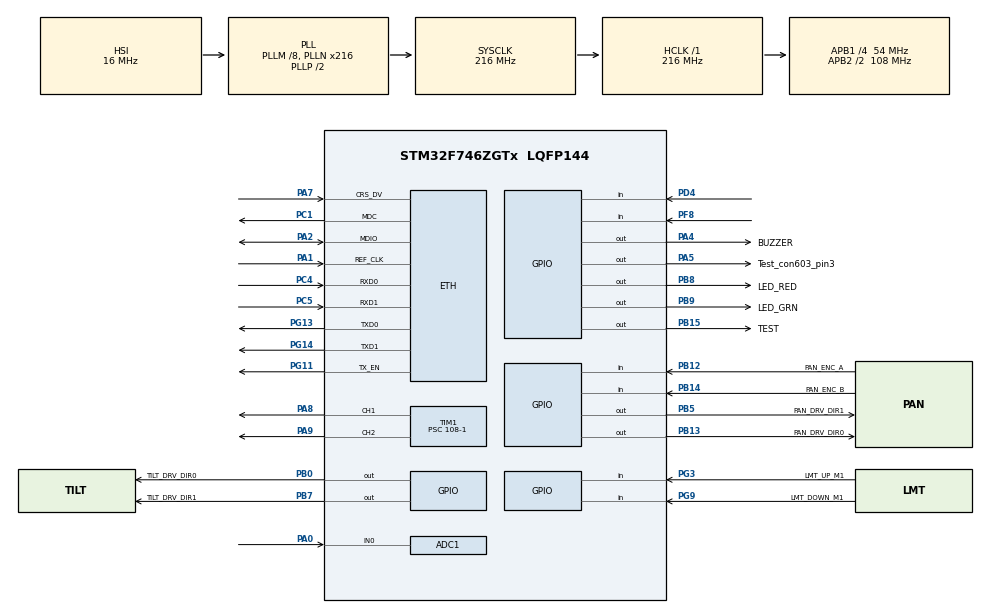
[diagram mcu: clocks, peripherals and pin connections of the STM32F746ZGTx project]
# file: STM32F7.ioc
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ADC1.Channel-0\#ChannelRegularConversion=ADC_CHANNEL_0
ADC1.ContinuousConvMode=ENABLE
ADC1.DMAContinuousRequests=ENABLE
ADC1.NbrOfConversionFlag=1
ADC1.Rank-0\#ChannelRegularConversion=1
ADC1.SamplingTime-0\#ChannelRegularConversion=ADC_SAMPLETIME_3CYCLES
ADC1.ScanConvMode=ADC_SCAN_ENABLE
ADC1.master=1
CORTEX_M7.CPU_DCache=Enabled
CORTEX_M7.CPU_ICache=Enabled
Dma.ADC1.0.Direction=DMA_PERIPH_TO_MEMORY
Dma.ADC1.0.FIFOMode=DMA_FIFOMODE_DISABLE
Dma.ADC1.0.Instance=DMA2_Stream0
Dma.ADC1.0.MemDataAlignment=DMA_MDATAALIGN_HALFWORD
Dma.ADC1.0.MemInc=DMA_MINC_ENABLE
Dma.ADC1.0.Mode=DMA_CIRCULAR
Dma.ADC1.0.PeriphDataAlignment=DMA_PDATAALIGN_HALFWORD
Dma.ADC1.0.PeriphInc=DMA_PINC_DISABLE
Dma.ADC1.0.Priority=DMA_PRIORITY_LOW
Dma.Request0=ADC1
ETH.MACAddr=00\:80\:E2\:00\:00\:00
ETH.MediaInterface=ETH_MEDIA_INTERFACE_RMII
ETH.PhyAddress=0
ETH.RxMode=ETH_RXINTERRUPT_MODE
FREERTOS.INCLUDE_uxTaskGetStackHighWaterMark=1
FREERTOS.INCLUDE_uxTaskGetStackHighWaterMark2=1
FREERTOS.INCLUDE_vTaskCleanUpResources=1
FREERTOS.INCLUDE_vTaskDelayUntil=1
FREERTOS.Tasks01=defaultTask,0,128,StartDefaultTask,Default,NULL,Dynamic,NULL,NULL
FREERTOS.configENABLE_FPU=1
FREERTOS.configTIMER_TASK_STACK_DEPTH=128
FREERTOS.configTOTAL_HEAP_SIZE=100000
FREERTOS.configUSE_TIMERS=1
LWIP.CHECKSUM_BY_HARDWARE=0
LWIP.GATEWAY_ADDRESS=192.168.000.001
LWIP.IP_ADDRESS=192.168.001.036
LWIP.LWIP_DHCP=0
LWIP.LWIP_HTTPD=0
LWIP.LWIP_SNMP=0
LWIP.LWIP_SO_RCVTIMEO=1
LWIP.LWIP_SO_SNDTIMEO=1
LWIP.LWIP_TCPIP_TIMEOUT=1
LWIP.LWIP_TCP_CLOSE_TIMEOUT_MS_DEFAULT=1000
LWIP.MEMP_NUM_TCP_SEG=32
LWIP.MEM_SIZE=1600
LWIP.NETMASK_ADDRESS=255.255.255.000
LWIP.PBUF_POOL_BUFSIZE=592
LWIP.TCP_SND_BUF=1072
LWIP.TCP_WND_UPDATE_THRESHOLD=536
LWIP.Version=v2.1.2_Cube
Mcu.Family=STM32F7
Mcu.Name=STM32F746ZGTx
Mcu.Package=LQFP144
NVIC.ADC_IRQn=true\:5\:0\:false\:false\:true\:true\:true\:true
NVIC.DMA2_Stream0_IRQn=true\:5\:0\:false\:false\:true\:true\:false\:true
NVIC.ETH_IRQn=true\:5\:0\:true\:false\:true\:false\:true\:true
NVIC.PriorityGroup=NVIC_PRIORITYGROUP_4
NVIC.TIM1_CC_IRQn=true\:5\:0\:false\:false\:true\:true\:true\:true
NVIC.TIM1_UP_TIM10_IRQn=true\:0\:0\:false\:false\:true\:false\:false\:true
NVIC.TIM3_IRQn=true\:5\:0\:false\:false\:true\:true\:true\:true
NVIC.TIM6_DAC_IRQn=true\:5\:0\:false\:false\:true\:true\:true\:true
NVIC.TIM7_IRQn=true\:5\:0\:false\:false\:true\:true\:true\:true
NVIC.TimeBase=TIM1_UP_TIM10_IRQn
NVIC.TimeBaseIP=TIM10
PA0/WKUP.Signal=ADCx_IN0
PA1.Mode=RMII
PA1.Signal=ETH_REF_CLK
PA13.Mode=Serial_Wire
PA13.Signal=SYS_JTMS-SWDIO
PA14.Mode=Serial_Wire
PA14.Signal=SYS_JTCK-SWCLK
PA2.Mode=RMII
PA2.Signal=ETH_MDIO
PA4.GPIO_Label=BUZZER
PA4.Signal=GPIO_Output
PA5.GPIO_Label=Test_con603_pin3
PA5.Signal=GPIO_Output
PA7.Mode=RMII
PA7.Signal=ETH_CRS_DV
PA8.Signal=S_TIM1_CH1
PA9.Signal=S_TIM1_CH2
PB0.GPIO_Label=TILT_DRV_DIR0
PB0.Signal=GPIO_Output
PB12.GPIO_Label=PAN_ENC_A
PB12.Signal=GPIO_Input
PB13.GPIO_Label=PAN_DRV_DIR0
PB13.Signal=GPIO_Output
PB14.GPIO_Label=PAN_ENC_B
PB14.Signal=GPIO_Input
PB15.GPIO_Label=TEST
PB15.Signal=GPIO_Output
PB5.GPIO_Label=PAN_DRV_DIR1
PB5.Signal=GPIO_Output
PB7.GPIO_Label=TILT_DRV_DIR1
PB7.Signal=GPIO_Output
PB8.GPIO_Label=LED_RED
PB8.Signal=GPIO_Output
PB9.GPIO_Label=LED_GRN
PB9.Signal=GPIO_Output
PC1.Mode=RMII
PC1.Signal=ETH_MDC
PC4.Mode=RMII
PC4.Signal=ETH_RXD0
PC5.Mode=RMII
PC5.Signal=ETH_RXD1
PD4.Signal=GPIO_Input
PF8.Signal=GPIO_Input
PG11.Mode=RMII
PG11.Signal=ETH_TX_EN
PG13.Mode=RMII
PG13.Signal=ETH_TXD0
PG14.Mode=RMII
PG14.Signal=ETH_TXD1
PG3.GPIO_Label=LMT_UP_M1
PG3.Signal=GPIO_Input
PG9.GPIO_Label=LMT_DOWN_M1
PG9.Signal=GPIO_Input
PH0/OSC_IN.Mode=HSE-External-Clock-Source
PH0/OSC_IN.Signal=RCC_OSC_IN
PH1/OSC_OUT.Mode=HSE-External-Clock-Source
PH1/OSC_OUT.Signal=RCC_OSC_OUT
ProjectManager.HeapSize=0xF00
ProjectManager.StackSize=0xF00
ProjectManager.TargetToolchain=MDK-ARM V5.27
RCC.AHBFreq_Value=216000000
RCC.APB1CLKDivider=RCC_HCLK_DIV4
RCC.APB1Freq_Value=54000000
RCC.APB1TimFreq_Value=108000000
RCC.APB2CLKDivider=RCC_HCLK_DIV2
RCC.APB2Freq_Value=108000000
RCC.APB2TimFreq_Value=216000000
RCC.CortexFreq_Value=216000000
RCC.HCLKFreq_Value=216000000
RCC.HSE_VALUE=25000000
RCC.HSI_VALUE=16000000
RCC.LSE_VALUE=32768
RCC.PLLM=8
RCC.PLLN=216
RCC.SYSCLKFreq_VALUE=216000000
RCC.SYSCLKSource=RCC_SYSCLKSOURCE_PLLCLK
RCC.USBFreq_Value=216000000
RCC.VCOOutputFreq_Value=432000000
SH.ADCx_IN0.0=ADC1_IN0,IN0
SH.S_TIM1_CH1.0=TIM1_CH1,PWM Generation1 CH1
SH.S_TIM1_CH2.0=TIM1_CH2,PWM Generation2 CH2
TIM1.Channel-PWM\ Generation1\ CH1=TIM_CHANNEL_1
TIM1.Channel-PWM\ Generation2\ CH2=TIM_CHANNEL_2
TIM1.Period=100-1
TIM1.Prescaler=108-1
TIM1.Pulse-PWM\ Generation1\ CH1=50
TIM3.Channel-Output\ Compare1\ No\ Output=TIM_CHANNEL_1
TIM3.Channel-Output\ Compare2\ No\ Output=TIM_CHANNEL_2
TIM3.Channel-Output\ Compare3\ No\ Output=TIM_CHANNEL_3
TIM3.Channel-Output\ Compare4\ No\ Output=TIM_CHANNEL_4
TIM3.Period=65536-1
TIM3.Prescaler=1080
TIM6.Period=675-1
TIM6.Prescaler=5000-1
TIM7.AutoReloadPreload=TIM_AUTORELOAD_PRELOAD_ENABLE
TIM7.Period=999
TIM7.Prescaler=10799
VP_FREERTOS_VS_CMSIS_V1.Mode=CMSIS_V1
VP_LWIP_VS_Enabled.Mode=Enabled
VP_SYS_VS_tim10.Mode=TIM10
VP_TIM1_VS_ClockSourceINT.Mode=Internal
VP_TIM3_VS_ClockSourceINT.Mode=Internal
VP_TIM3_VS_no_output1.Mode=Output Compare1 No Output
VP_TIM3_VS_no_output2.Mode=Output Compare2 No Output
VP_TIM3_VS_no_output3.Mode=Output Compare3 No Output
VP_TIM3_VS_no_output4.Mode=Output Compare4 No Output
VP_TIM6_VS_ClockSourceINT.Mode=Enable_Timer
VP_TIM7_VS_ClockSourceINT.Mode=Enable_Timer
board=custom

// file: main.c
/* USER CODE BEGIN Header */
/**
  ******************************************************************************
  * @file           : main.c
  * @brief          : Main program body
  ******************************************************************************
  * @attention
  *
  * <h2><center>&copy; Copyright (c) 2020 STMicroelectronics.
  * All rights reserved.</center></h2>
  *
  * This software component is licensed by ST under Ultimate Liberty license
  * SLA0044, the "License"; You may not use this file except in compliance with
  * the License. You may obtain a copy of the License at:
  *                             www.st.com/SLA0044
  *
  ******************************************************************************
  */
/* USER CODE END Header */
#include "main.h"
#include "cmsis_os.h"
#include "adc.h"
#include "dma.h"
#include "lwip.h"
#include "tim.h"
#include "gpio.h"

/* USER CODE BEGIN Includes */
#include "Farand_Ethernet.h"
/* USER CODE END Includes */

/* USER CODE BEGIN PV */
uint8_t ethernet_Tx_Bytes[512];
uint8_t ethernet_Rx_Bytes[512];
__IO uint16_t ADC1_Value[1];
/* USER CODE END PV */

void SystemClock_Config(void);
void MX_FREERTOS_Init(void);

int main(void)
{

  /* Enable I-Cache---------------------------------------------------------*/
  SCB_EnableICache();

  /* Enable D-Cache---------------------------------------------------------*/
  SCB_EnableDCache();

  /* MCU Configuration--------------------------------------------------------*/

  /* Reset of all peripherals, Initializes the Flash interface and the Systick. */
  HAL_Init();

  /* Configure the system clock */
  SystemClock_Config();

  /* Initialize all configured peripherals */
  MX_GPIO_Init();
  MX_DMA_Init();
  MX_TIM7_Init();
  MX_TIM1_Init();
  MX_TIM3_Init();
  MX_ADC1_Init();
  MX_TIM6_Init();
  /* USER CODE BEGIN 2 */
	HAL_TIM_Base_Start_IT(&htim7);
	HAL_TIM_Base_Start_IT(&htim1);
	HAL_TIM_Base_Start_IT(&htim6);
	HAL_TIM_PWM_Start_IT(&htim1,TIM_CHANNEL_1);
	HAL_TIM_PWM_Start_IT(&htim1,TIM_CHANNEL_2);
	HAL_ADC_Start_DMA(&hadc1,(uint32_t*)ADC1_Value,1);
	//HAL_TIM_Base_Start_IT(&htim3);
	HAL_TIM_OC_Start_IT(&htim3,TIM_CHANNEL_1);
	HAL_TIM_OC_Start_IT(&htim3,TIM_CHANNEL_2);
	HAL_TIM_OC_Start_IT(&htim3,TIM_CHANNEL_3);
	HAL_TIM_OC_Start_IT(&htim3,TIM_CHANNEL_4);

	Alarm(SHORT_BEEP_X2,1,32,1);

	Initialize_Current_Sensors();
	Initialize_Motor_Struct();
  /* USER CODE END 2 */

  /* Call init function for freertos objects (in freertos.c) */
  MX_FREERTOS_Init();
  /* Start scheduler */
  osKernelStart();

  /* We should never get here as control is now taken by the scheduler */
  /* Infinite loop */
  while (1)
  {

  }
}

void SystemClock_Config(void)
{
  RCC_OscInitTypeDef RCC_OscInitStruct = {0};
  RCC_ClkInitTypeDef RCC_ClkInitStruct = {0};

  /** Configure the main internal regulator output voltage
  */
  __HAL_RCC_PWR_CLK_ENABLE();
  __HAL_PWR_VOLTAGESCALING_CONFIG(PWR_REGULATOR_VOLTAGE_SCALE1);
  /** Initializes the RCC Oscillators according to the specified parameters
  * in the RCC_OscInitTypeDef structure.
  */
  RCC_OscInitStruct.OscillatorType = RCC_OSCILLATORTYPE_HSI;
  RCC_OscInitStruct.HSIState = RCC_HSI_ON;
  RCC_OscInitStruct.HSICalibrationValue = RCC_HSICALIBRATION_DEFAULT;
  RCC_OscInitStruct.PLL.PLLState = RCC_PLL_ON;
  RCC_OscInitStruct.PLL.PLLSource = RCC_PLLSOURCE_HSI;
  RCC_OscInitStruct.PLL.PLLM = 8;
  RCC_OscInitStruct.PLL.PLLN = 216;
  RCC_OscInitStruct.PLL.PLLP = RCC_PLLP_DIV2;
  RCC_OscInitStruct.PLL.PLLQ = 2;
  if (HAL_RCC_OscConfig(&RCC_OscInitStruct) != HAL_OK)
  {
    Error_Handler();
  }
  /** Activate the Over-Drive mode
  */
  if (HAL_PWREx_EnableOverDrive() != HAL_OK)
  {
    Error_Handler();
  }
  /** Initializes the CPU, AHB and APB buses clocks
  */
  RCC_ClkInitStruct.ClockType = RCC_CLOCKTYPE_HCLK|RCC_CLOCKTYPE_SYSCLK
                              |RCC_CLOCKTYPE_PCLK1|RCC_CLOCKTYPE_PCLK2;
  RCC_ClkInitStruct.SYSCLKSource = RCC_SYSCLKSOURCE_PLLCLK;
  RCC_ClkInitStruct.AHBCLKDivider = RCC_SYSCLK_DIV1;
  RCC_ClkInitStruct.APB1CLKDivider = RCC_HCLK_DIV4;
  RCC_ClkInitStruct.APB2CLKDivider = RCC_HCLK_DIV2;

  if (HAL_RCC_ClockConfig(&RCC_ClkInitStruct, FLASH_LATENCY_7) != HAL_OK)
  {
    Error_Handler();
  }
}

void HAL_TIM_PeriodElapsedCallback(TIM_HandleTypeDef *htim)
{
  /* USER CODE BEGIN Callback 0 */
	if(htim->Instance == TIM1)
	{
		if(htim->Channel == TIM_CHANNEL_1)
		{
				__HAL_TIM_SetCompare(&htim1,TIM_CHANNEL_1,Pan_Motor.Excitation_PWM);
				Apply_Direction_Commands();
		}
	}

	if(htim->Instance == TIM6)
	{
		Update_Alarm();
	}
  /* USER CODE END Callback 0 */
  if (htim->Instance == TIM10) {
    HAL_IncTick();
  }
  /* USER CODE BEGIN Callback 1 */
	if (htim->Instance == TIM7)
	{

		Timer7_Update_Handler();
		Report_to_PC();
//		Read_Angle_Encoders(Pan_Motor);
//		angle = Pan_Motor->Measured_Angle_Count_Raw / 40.000F;

  }
  /* USER CODE END Callback 1 */
}

void Error_Handler(void)
{
}

/************************ (C) COPYRIGHT STMicroelectronics *****END OF FILE****/

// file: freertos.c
/* USER CODE BEGIN Header */
/**
  ******************************************************************************
  * File Name          : freertos.c
  * Description        : Code for freertos applications
  ******************************************************************************
  * @attention
  *
  * <h2><center>&copy; Copyright (c) 2020 STMicroelectronics.
  * All rights reserved.</center></h2>
  *
  * This software component is licensed by ST under Ultimate Liberty license
  * SLA0044, the "License"; You may not use this file except in compliance with
  * the License. You may obtain a copy of the License at:
  *                             www.st.com/SLA0044
  *
  ******************************************************************************
  */
/* USER CODE END Header */

#include "FreeRTOS.h"
#include "task.h"
#include "main.h"
#include "cmsis_os.h"

/* USER CODE BEGIN Includes */
#include "Farand_Ethernet.h"
/* USER CODE END Includes */

/* USER CODE BEGIN Variables */
osThreadId tcpClinetTaskHandle;
osThreadId tcpClientRecvCallbackHandle;
osThreadId LowerArmServerTaskHandle;
osThreadId ElbowServerTaskHandle;
osThreadId HeadServerTaskHandle;
osThreadId tcpServerRecvCallbackHandle;
osTimerId NetworkTimeoutTimerHandle;
/* USER CODE END Variables */
osThreadId defaultTaskHandle;

void StartDefaultTask(void const * argument);

extern void MX_LWIP_Init(void);
void MX_FREERTOS_Init(void); /* (MISRA C 2004 rule 8.1) */

/* GetIdleTaskMemory prototype (linked to static allocation support) */
void vApplicationGetIdleTaskMemory( StaticTask_t **ppxIdleTaskTCBBuffer, StackType_t **ppxIdleTaskStackBuffer, uint32_t *pulIdleTaskStackSize );

/* GetTimerTaskMemory prototype (linked to static allocation support) */
void vApplicationGetTimerTaskMemory( StaticTask_t **ppxTimerTaskTCBBuffer, StackType_t **ppxTimerTaskStackBuffer, uint32_t *pulTimerTaskStackSize );

/* USER CODE BEGIN GET_IDLE_TASK_MEMORY */
static StaticTask_t xIdleTaskTCBBuffer;
static StackType_t xIdleStack[configMINIMAL_STACK_SIZE];

void vApplicationGetIdleTaskMemory( StaticTask_t **ppxIdleTaskTCBBuffer, StackType_t **ppxIdleTaskStackBuffer, uint32_t *pulIdleTaskStackSize )
{
  *ppxIdleTaskTCBBuffer = &xIdleTaskTCBBuffer;
  *ppxIdleTaskStackBuffer = &xIdleStack[0];
  *pulIdleTaskStackSize = configMINIMAL_STACK_SIZE;
  /* place for user code */
}
/* USER CODE END GET_IDLE_TASK_MEMORY */

/* USER CODE BEGIN GET_TIMER_TASK_MEMORY */
static StaticTask_t xTimerTaskTCBBuffer;
static StackType_t xTimerStack[configTIMER_TASK_STACK_DEPTH];

void vApplicationGetTimerTaskMemory( StaticTask_t **ppxTimerTaskTCBBuffer, StackType_t **ppxTimerTaskStackBuffer, uint32_t *pulTimerTaskStackSize )
{
  *ppxTimerTaskTCBBuffer = &xTimerTaskTCBBuffer;
  *ppxTimerTaskStackBuffer = &xTimerStack[0];
  *pulTimerTaskStackSize = configTIMER_TASK_STACK_DEPTH;
  /* place for user code */
}
/* USER CODE END GET_TIMER_TASK_MEMORY */

void MX_FREERTOS_Init(void) {

  /* USER CODE BEGIN RTOS_TIMERS */
  /* start timers, add new ones, ... */
	osTimerDef(NetworkTimeoutTimer, Network_Timeout);
	NetworkTimeoutTimerHandle = osTimerCreate(osTimer(NetworkTimeoutTimer), osTimerOnce, NULL);//osTimerOnce
  /* USER CODE END RTOS_TIMERS */

  /* Create the thread(s) */
  /* definition and creation of defaultTask */
  osThreadDef(defaultTask, StartDefaultTask, osPriorityNormal, 0, 128);
  defaultTaskHandle = osThreadCreate(osThread(defaultTask), NULL);

}

void StartDefaultTask(void const * argument)
{
  /* init code for LWIP */
  MX_LWIP_Init();
  /* USER CODE BEGIN StartDefaultTask */
 	osDelay(3000);//this delay is for initializing
#ifdef TCP
	#ifdef CLIENT
		osThreadDef(tcpclientTask, TCP_Client_Send_Task, osPriorityNormal, 0, 500);
		tcpClinetTaskHandle = osThreadCreate(osThread(tcpclientTask), NULL);

		osThreadDef(ClinetRecvCallback, TCP_Client_Receive_Task, osPriorityNormal, 0, 500);
		tcpClientRecvCallbackHandle = osThreadCreate(osThread(ClinetRecvCallback), NULL);
	#endif
#endif

  osThreadTerminate(defaultTaskHandle);
	for(;;)
	{
		osDelay(10);
	}
  /* USER CODE END StartDefaultTask */
}

/************************ (C) COPYRIGHT STMicroelectronics *****END OF FILE****/
